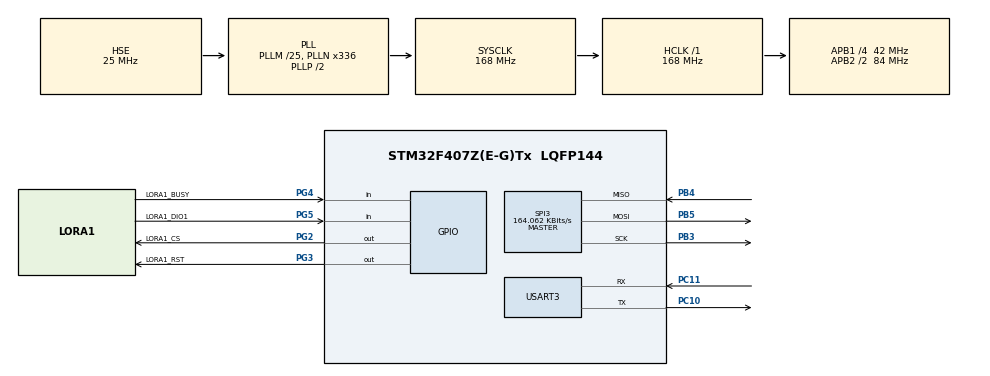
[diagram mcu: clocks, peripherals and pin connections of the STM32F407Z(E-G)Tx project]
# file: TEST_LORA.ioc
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Mcu.Family=STM32F4
Mcu.Name=STM32F407Z(E-G)Tx
Mcu.Package=LQFP144
NVIC.PriorityGroup=NVIC_PRIORITYGROUP_4
PA13.Mode=Serial_Wire
PA13.Signal=SYS_JTMS-SWDIO
PA14.Mode=Serial_Wire
PA14.Signal=SYS_JTCK-SWCLK
PA5.Signal=S_TIM2_CH1_ETR
PB3.Mode=Full_Duplex_Master
PB3.Signal=SPI3_SCK
PB4.Mode=Full_Duplex_Master
PB4.Signal=SPI3_MISO
PB5.Mode=Full_Duplex_Master
PB5.Signal=SPI3_MOSI
PC10.Mode=Asynchronous
PC10.Signal=USART3_TX
PC11.Mode=Asynchronous
PC11.Signal=USART3_RX
PC14-OSC32_IN.Mode=LSE-External-Oscillator
PC14-OSC32_IN.Signal=RCC_OSC32_IN
PC15-OSC32_OUT.Mode=LSE-External-Oscillator
PC15-OSC32_OUT.Signal=RCC_OSC32_OUT
PG2.GPIO_Label=LORA1_CS
PG2.GPIO_Speed=GPIO_SPEED_FREQ_VERY_HIGH
PG2.PinState=GPIO_PIN_SET
PG2.Signal=GPIO_Output
PG3.GPIO_Label=LORA1_RST
PG3.GPIO_Speed=GPIO_SPEED_FREQ_VERY_HIGH
PG3.PinState=GPIO_PIN_SET
PG3.Signal=GPIO_Output
PG4.GPIO_Label=LORA1_BUSY
PG4.GPIO_PuPd=GPIO_PULLUP
PG4.Signal=GPIO_Input
PG5.GPIO_Label=LORA1_DIO1
PG5.Signal=GPIO_Input
PH0-OSC_IN.Mode=HSE-External-Oscillator
PH0-OSC_IN.Signal=RCC_OSC_IN
PH1-OSC_OUT.Mode=HSE-External-Oscillator
PH1-OSC_OUT.Signal=RCC_OSC_OUT
ProjectManager.HeapSize=0x200
ProjectManager.StackSize=0x400
ProjectManager.TargetToolchain=MDK-ARM V5.32
RCC.48MHZClocksFreq_Value=84000000
RCC.AHBFreq_Value=168000000
RCC.APB1CLKDivider=RCC_HCLK_DIV4
RCC.APB1Freq_Value=42000000
RCC.APB1TimFreq_Value=84000000
RCC.APB2CLKDivider=RCC_HCLK_DIV2
RCC.APB2Freq_Value=84000000
RCC.APB2TimFreq_Value=168000000
RCC.CortexFreq_Value=168000000
RCC.HCLKFreq_Value=168000000
RCC.HSE_VALUE=25000000
RCC.HSI_VALUE=16000000
RCC.PLLM=25
RCC.PLLN=336
RCC.PLLSourceVirtual=RCC_PLLSOURCE_HSE
RCC.SYSCLKFreq_VALUE=168000000
RCC.SYSCLKSource=RCC_SYSCLKSOURCE_PLLCLK
RCC.VCOOutputFreq_Value=336000000
SH.S_TIM2_CH1_ETR.0=TIM2_CH1
SPI3.BaudRatePrescaler=SPI_BAUDRATEPRESCALER_256
SPI3.CalculateBaudRate=164.062 KBits/s
SPI3.Direction=SPI_DIRECTION_2LINES
SPI3.Mode=SPI_MODE_MASTER
SPI3.VirtualType=VM_MASTER
USART3.VirtualMode=VM_ASYNC
board=custom

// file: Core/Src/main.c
/* USER CODE BEGIN Header */
/**
  ******************************************************************************
  * @file           : main.c
  * @brief          : Main program body
  ******************************************************************************
  * @attention
  *
  * Copyright (c) 2025 STMicroelectronics.
  * All rights reserved.
  *
  * This software is licensed under terms that can be found in the LICENSE file
  * in the root directory of this software component.
  * If no LICENSE file comes with this software, it is provided AS-IS.
  *
  ******************************************************************************
  */
/* USER CODE END Header */
#include "main.h"
#include "spi.h"
#include "usart.h"
#include "gpio.h"

/* USER CODE BEGIN Includes */
#include "sx1262.h"
uint8_t Lora_Rxbuff[128];
#define mode 0 //发送接收模式，发送模式为1，接收模式为0
/* USER CODE END Includes */

void SystemClock_Config(void);

int main(void)
{

  /* MCU Configuration--------------------------------------------------------*/

  /* Reset of all peripherals, Initializes the Flash interface and the Systick. */
  HAL_Init();

  /* Configure the system clock */
  SystemClock_Config();

  /* Initialize all configured peripherals */
  MX_GPIO_Init();
  MX_USART3_UART_Init();
  MX_SPI3_Init();
  /* USER CODE BEGIN 2 */
  RFInit();      //射频模块初始化
  HAL_UART_Transmit(&huart3, "LoTx-test", 9, 1000);
  /* USER CODE END 2 */

  /* Infinite loop */
  /* USER CODE BEGIN WHILE */
  while (1)
  {
	  if(mode)  //发送模式
	  {
			Tx_Start("LoRa-test",9);  //发送数据
			HAL_Delay(1000);
	  }
	  else     //接受模式
	  {
			uint8_t Irq_Status;             // 存放SX1262的中断状态值
			uint8_t packet_size,buf_offset; // packet_size:接收到的有效数据包长度  buf_offset:接收数据在FIFO中的偏移地址
			// 判断SX1262的DIO1中断引脚是否触发中断（有射频中断产生）
			if(RF_IRQ())
			{
				// 读取SX1262中断状态值
				Irq_Status = GetIrqStatus();

				// 判断是否为 接收完成中断
				if((Irq_Status&0x02) == RxDone_IRQ)
				{
					// 获取接收到的数据包有效长度
					GetRxBufferStatus(&packet_size, &buf_offset);

					// 读取接收到的数据，存入数组
					ReadBuffer(buf_offset, Lora_Rxbuff, packet_size);

					// 计算实际的RSSI信号强度值
					Sx1262_Flag.RxRssi = 0-(GetRssiInst())/2;

					// 清除中断标志位
					ClearIrqStatus(RxDone_IRQ);

					// 再次读取，确保标志清除干净
					Irq_Status = GetIrqStatus();

					// 打印接收到的LoRa数据
					HAL_UART_Transmit(&huart3, Lora_Rxbuff, packet_size, 1000);
				}

				// 无论是否接收到有效数据，中断处理完成后，重新初始化进入接收模式
				// 保证SX1262持续处于监听接收状态，等待下一包数据
				RFRxMode();
			}
	  }
    /* USER CODE END WHILE */

  }
}

void SystemClock_Config(void)
{
  RCC_OscInitTypeDef RCC_OscInitStruct = {0};
  RCC_ClkInitTypeDef RCC_ClkInitStruct = {0};

  /** Configure the main internal regulator output voltage
  */
  __HAL_RCC_PWR_CLK_ENABLE();
  __HAL_PWR_VOLTAGESCALING_CONFIG(PWR_REGULATOR_VOLTAGE_SCALE1);

  /** Initializes the RCC Oscillators according to the specified parameters
  * in the RCC_OscInitTypeDef structure.
  */
  RCC_OscInitStruct.OscillatorType = RCC_OSCILLATORTYPE_HSE;
  RCC_OscInitStruct.HSEState = RCC_HSE_ON;
  RCC_OscInitStruct.PLL.PLLState = RCC_PLL_ON;
  RCC_OscInitStruct.PLL.PLLSource = RCC_PLLSOURCE_HSE;
  RCC_OscInitStruct.PLL.PLLM = 25;
  RCC_OscInitStruct.PLL.PLLN = 336;
  RCC_OscInitStruct.PLL.PLLP = RCC_PLLP_DIV2;
  RCC_OscInitStruct.PLL.PLLQ = 4;
  if (HAL_RCC_OscConfig(&RCC_OscInitStruct) != HAL_OK)
  {
    Error_Handler();
  }

  /** Initializes the CPU, AHB and APB buses clocks
  */
  RCC_ClkInitStruct.ClockType = RCC_CLOCKTYPE_HCLK|RCC_CLOCKTYPE_SYSCLK
                              |RCC_CLOCKTYPE_PCLK1|RCC_CLOCKTYPE_PCLK2;
  RCC_ClkInitStruct.SYSCLKSource = RCC_SYSCLKSOURCE_PLLCLK;
  RCC_ClkInitStruct.AHBCLKDivider = RCC_SYSCLK_DIV1;
  RCC_ClkInitStruct.APB1CLKDivider = RCC_HCLK_DIV4;
  RCC_ClkInitStruct.APB2CLKDivider = RCC_HCLK_DIV2;

  if (HAL_RCC_ClockConfig(&RCC_ClkInitStruct, FLASH_LATENCY_5) != HAL_OK)
  {
    Error_Handler();
  }
}

/* USER CODE BEGIN 4 */
void HAL_UARTEx_RxEventCallback(UART_HandleTypeDef *huart, uint16_t Size)
{
}
/* USER CODE END 4 */

void Error_Handler(void)
{
  __disable_irq();
  while (1)
  {
  }
}
